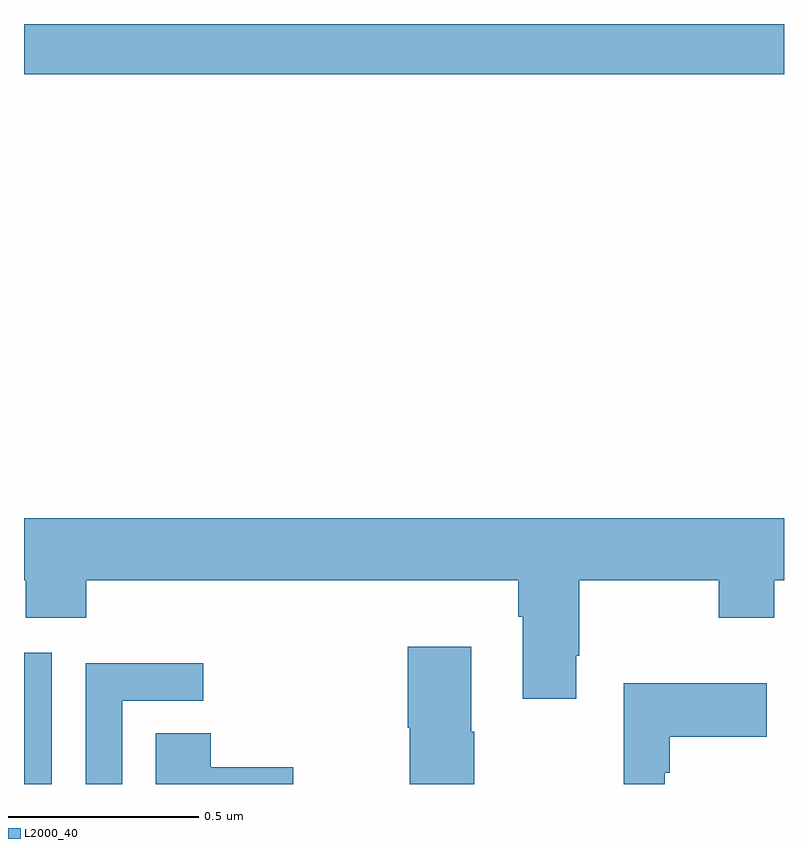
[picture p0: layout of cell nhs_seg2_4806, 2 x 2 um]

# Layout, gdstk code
import gdstk
lib = gdstk.Library(unit=1e-6, precision=1e-09)
def R(c, l, rs):  # rectangles x0, y0, x1, y1
    for r in rs: c.add(gdstk.rectangle(r[:2], r[2:], *l))
def P(c, l, *ps):  # polygons
    for p in ps: c.add(gdstk.Polygon(p, *l))
L2000_40 = (2000, 40)

nhs_seg2_4806 = lib.new_cell('nhs_seg2_4806')
R(nhs_seg2_4806, L2000_40, [(171,613.8,171.073,614.146), (171,615.668,173,615.8)])
P(nhs_seg2_4806, L2000_40, [(172.453,614.137),(172.461,614.137),(172.461,614.336),(172.828,614.336),(172.828,614.237),(172.974,614.237),(172.974,614.336),(173,614.336),(173,614.5),(171,614.5),(171,614.336),(171.004,614.336),(171.004,614.237),(171.164,614.237),(171.164,614.336),(172.301,614.336),(172.301,614.24),(172.313,614.24),(172.313,614.025),(172.453,614.025)],
  [(172.185,613.937),(172.177,613.937),(172.177,614.161),(172.01,614.161),(172.01,613.948),(172.015,613.948),(172.015,613.8),(172.185,613.8)],
  [(171.258,614.019),(171.472,614.019),(171.472,614.118),(171.162,614.118),(171.162,613.8),(171.258,613.8)],
  [(172.686,613.829),(172.699,613.829),(172.699,613.925),(172.955,613.925),(172.955,614.065),(172.578,614.065),(172.578,613.8),(172.686,613.8)],
  [(171.709,613.844),(171.491,613.844),(171.491,613.934),(171.347,613.934),(171.347,613.8),(171.709,613.8)])

lib.write_gds('nhs_seg2_4806.gds')
